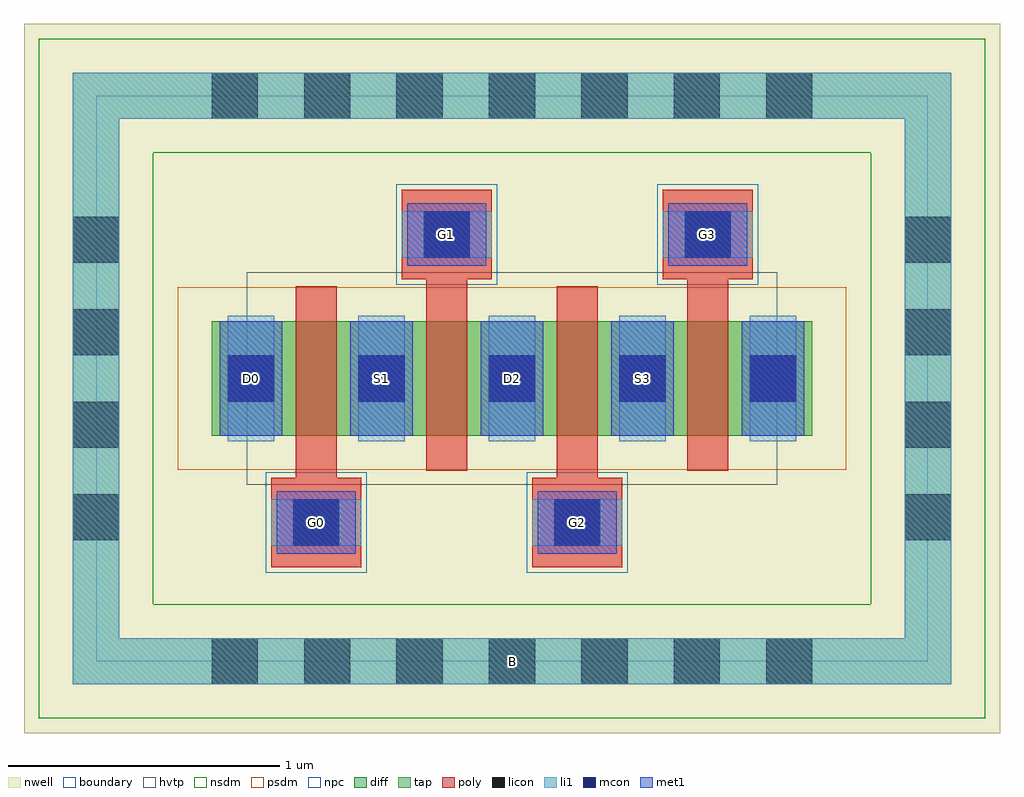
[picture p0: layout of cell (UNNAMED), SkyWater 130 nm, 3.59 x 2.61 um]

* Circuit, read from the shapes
.subckt (UNNAMED) B D0 D2 G0 G1 G2 G3 S1 S3
XM1 S1 G0 D0 B sky130_fd_pr__pfet_01v8_hvt w=0.42 l=0.15
XM2 D2 G1 S1 B sky130_fd_pr__pfet_01v8_hvt w=0.42 l=0.15
XM3 S3 G2 D2 B sky130_fd_pr__pfet_01v8_hvt w=0.42 l=0.15
XM4 n1 G3 S3 B sky130_fd_pr__pfet_01v8_hvt w=0.42 l=0.15
.ends

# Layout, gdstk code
import gdstk
lib = gdstk.Library(unit=1e-6, precision=1e-09)
def R(c, l, rs):  # rectangles x0, y0, x1, y1
    for r in rs: c.add(gdstk.rectangle(r[:2], r[2:], *l))
def A(c, l, x, y, w, h, nx, ny, dx, dy):  # array of equal rectangles
    R(c, l, [(x+i*dx, y+j*dy, x+i*dx+w, y+j*dy+h) for i in range(nx) for j in range(ny)])
nwell = (64, 20)
diff = (65, 20)
tap = (65, 44)
poly = (66, 20)
licon = (66, 44)
li1 = (67, 20)
mcon = (67, 44)
met1 = (68, 20)
hvtp = (78, 44)
nsdm = (93, 44)
psdm = (94, 20)
npc = (95, 20)
boundary = (235, 4)

c__unnamed_ = lib.new_cell('(UNNAMED)')
R(c__unnamed_, nwell, [(-1.795,-1.305,1.795,1.305)])
R(c__unnamed_, diff, [(-1.105,-0.21,1.105,0.21)])
R(c__unnamed_, tap, [(-1.615,-1.125,1.615,-0.955), (-1.615,-0.955,-1.445,0.955), (1.445,-0.955,1.615,0.955), (-1.615,0.955,1.615,1.125)])
R(c__unnamed_, poly, [(-0.885,-0.695,-0.555,-0.365), (0.075,-0.695,0.405,-0.365), (-0.795,-0.365,-0.645,0.34), (0.165,-0.365,0.315,0.34), (-0.315,-0.34,-0.165,0.365), (0.645,-0.34,0.795,0.365), (-0.405,0.365,-0.075,0.695), (0.555,0.365,0.885,0.695)])
A(c__unnamed_, licon, -1.105, -1.125, 0.17, 0.17, 7, 2, 0.34, 2.08)
A(c__unnamed_, licon, -1.615, -0.595, 0.17, 0.17, 1, 4, 0, 0.34)
A(c__unnamed_, licon, 1.445, -0.595, 0.17, 0.17, 1, 4, 0, 0.34)
A(c__unnamed_, licon, -1.045, -0.085, 0.17, 0.17, 5, 1, 0.48, 0)
R(c__unnamed_, licon, [(-0.805,-0.615,-0.635,-0.445), (0.155,-0.615,0.325,-0.445), (-0.325,0.445,-0.155,0.615), (0.635,0.445,0.805,0.615)])
A(c__unnamed_, li1, -1.045, -0.23, 0.17, 0.46, 5, 1, 0.48, 0)
R(c__unnamed_, li1, [(-1.615,-1.125,1.615,-0.955), (-1.615,-0.955,-1.445,0.955), (1.445,-0.955,1.615,0.955), (-0.885,-0.615,-0.555,-0.445), (0.075,-0.615,0.405,-0.445), (-0.405,0.445,-0.075,0.615), (0.555,0.445,0.885,0.615), (-1.615,0.955,1.615,1.125)])
A(c__unnamed_, mcon, -1.045, -0.085, 0.17, 0.17, 5, 1, 0.48, 0)
R(c__unnamed_, mcon, [(-0.805,-0.615,-0.635,-0.445), (0.155,-0.615,0.325,-0.445), (-0.325,0.445,-0.155,0.615), (0.635,0.445,0.805,0.615)])
A(c__unnamed_, met1, -1.075, -0.21, 0.23, 0.42, 5, 1, 0.48, 0)
R(c__unnamed_, met1, [(-0.865,-0.645,-0.575,-0.415), (0.095,-0.645,0.385,-0.415), (-0.385,0.415,-0.095,0.645), (0.575,0.415,0.865,0.645)])
R(c__unnamed_, hvtp, [(-0.975,-0.39,0.975,0.39)])
R(c__unnamed_, nsdm, [(-1.74,-1.25,1.74,-0.83), (-1.74,-0.83,-1.32,0.83), (1.32,-0.83,1.74,0.83), (-1.74,0.83,1.74,1.25)])
R(c__unnamed_, psdm, [(-1.23,-0.335,1.23,0.335)])
R(c__unnamed_, npc, [(-0.905,-0.715,-0.535,-0.345), (0.055,-0.715,0.425,-0.345), (-0.425,0.345,-0.055,0.715), (0.535,0.345,0.905,0.715)])
R(c__unnamed_, boundary, [(-1.53,-1.04,1.53,1.04)])
c__unnamed_.add(gdstk.Label('B', (0,-1.04), layer=67, texttype=5))
c__unnamed_.add(gdstk.Label('D0', (-0.96,0), layer=67, texttype=5))
c__unnamed_.add(gdstk.Label('G0', (-0.72,-0.53), layer=67, texttype=5))
c__unnamed_.add(gdstk.Label('S1', (-0.48,0), layer=67, texttype=5))
c__unnamed_.add(gdstk.Label('G1', (-0.24,0.53), layer=67, texttype=5))
c__unnamed_.add(gdstk.Label('D2', (0,0), layer=67, texttype=5))
c__unnamed_.add(gdstk.Label('G2', (0.24,-0.53), layer=67, texttype=5))
c__unnamed_.add(gdstk.Label('S3', (0.48,0), layer=67, texttype=5))
c__unnamed_.add(gdstk.Label('G3', (0.72,0.53), layer=67, texttype=5))

lib.write_gds('_UNNAMED_.gds')
